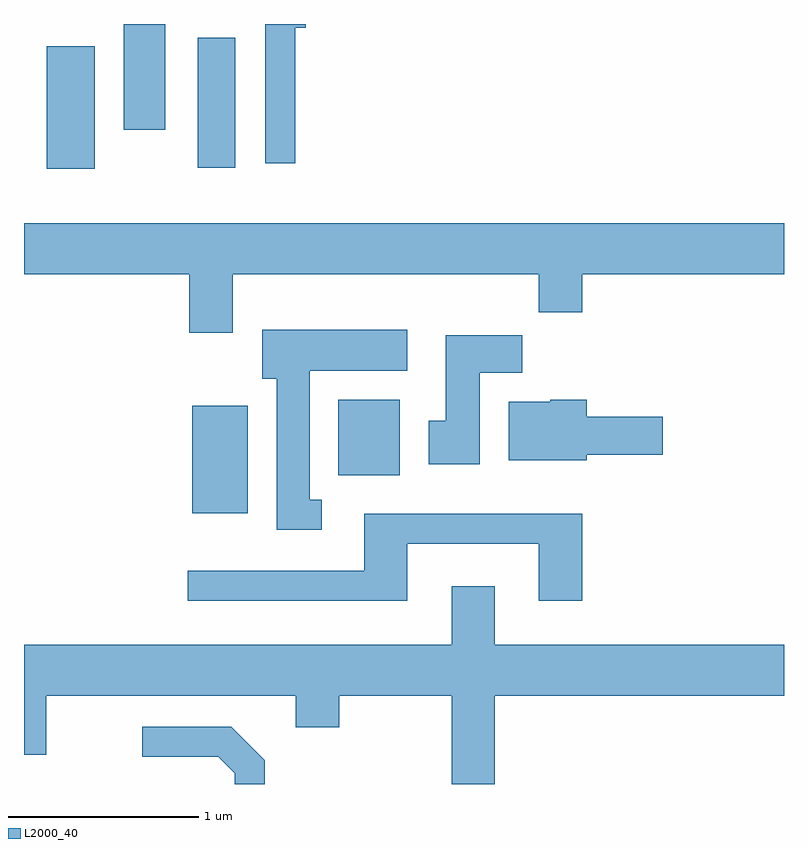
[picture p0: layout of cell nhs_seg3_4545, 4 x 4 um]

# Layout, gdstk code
import gdstk
lib = gdstk.Library(unit=1e-6, precision=1e-09)
def R(c, l, rs):  # rectangles x0, y0, x1, y1
    for r in rs: c.add(gdstk.rectangle(r[:2], r[2:], *l))
def P(c, l, *ps):  # polygons
    for p in ps: c.add(gdstk.Polygon(p, *l))
L2000_40 = (2000, 40)

nhs_seg3_4545 = lib.new_cell('nhs_seg3_4545')
R(nhs_seg3_4545, L2000_40, [(318.496,1231.316,318.789,1231.884), (319.266,1231.516,319.589,1231.914), (317.731,1233.131,317.984,1233.774), (318.526,1233.136,318.724,1233.819), (318.136,1233.336,318.354,1233.892)])
P(nhs_seg3_4545, L2000_40, [(319.039,1233.871),(319.094,1233.871),(319.094,1233.892),(318.881,1233.892),(318.881,1233.158),(319.039,1233.158)],
  [(318.709,1232.576),(320.321,1232.576),(320.321,1232.376),(320.549,1232.376),(320.549,1232.576),(321.611,1232.576),(321.611,1232.844),(317.611,1232.844),(317.611,1232.576),(318.481,1232.576),(318.481,1232.266),(318.709,1232.266)],
  [(319.178,1231.389),(319.114,1231.389),(319.114,1232.066),(319.629,1232.066),(319.629,1232.284),(318.866,1232.284),(318.866,1232.026),(318.941,1232.026),(318.941,1231.231),(319.178,1231.231)],
  [(320.009,1232.056),(320.234,1232.056),(320.234,1232.254),(319.831,1232.254),(319.831,1231.804),(319.741,1231.804),(319.741,1231.576),(320.009,1231.576)],
  [(320.574,1231.626),(320.974,1231.626),(320.974,1231.824),(320.574,1231.824),(320.574,1231.914),(320.38,1231.914),(320.38,1231.904),(320.161,1231.904),(320.161,1231.596),(320.574,1231.596)],
  [(319.629,1231.156),(320.321,1231.156),(320.321,1230.856),(320.549,1230.856),(320.549,1231.314),(319.401,1231.314),(319.401,1231.014),(318.473,1231.014),(318.473,1230.856),(319.629,1230.856)],
  [(320.089,1230.356),(321.611,1230.356),(321.611,1230.624),(320.089,1230.624),(320.089,1230.934),(319.861,1230.934),(319.861,1230.624),(317.611,1230.624),(317.611,1230.046),(317.729,1230.046),(317.729,1230.356),(319.041,1230.356),(319.041,1230.191),(319.269,1230.191),(319.269,1230.356),(319.861,1230.356),(319.861,1229.892),(320.089,1229.892)],
  [(318.879,1230.017),(318.702,1230.194),(318.233,1230.194),(318.233,1230.036),(318.634,1230.036),(318.721,1229.949),(318.721,1229.892),(318.879,1229.892)])

lib.write_gds('nhs_seg3_4545.gds')
